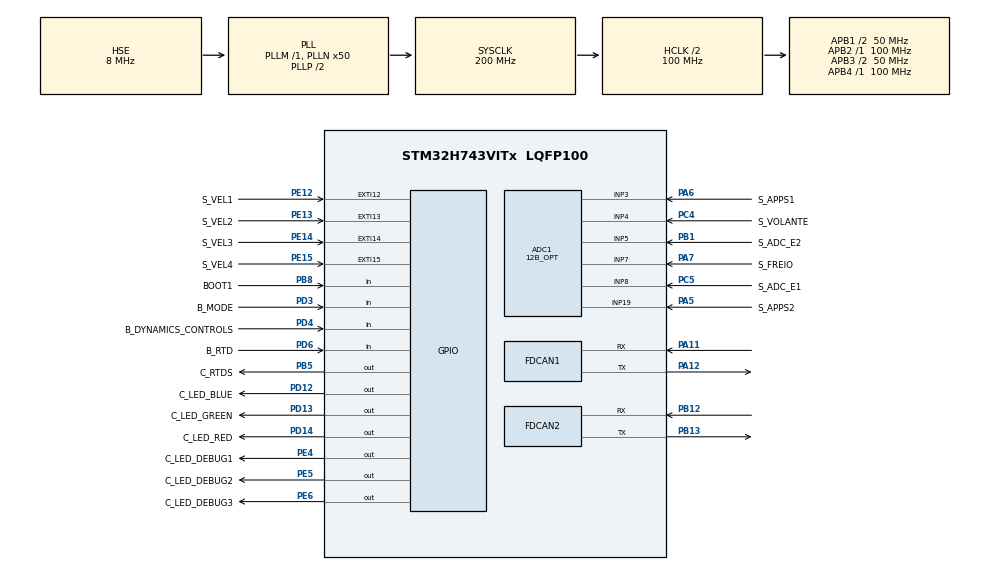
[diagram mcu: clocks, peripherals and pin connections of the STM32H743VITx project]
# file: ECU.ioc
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ADC1.Channel-0\#ChannelRegularConversion=ADC_CHANNEL_3
ADC1.Channel-1\#ChannelRegularConversion=ADC_CHANNEL_4
ADC1.Channel-2\#ChannelRegularConversion=ADC_CHANNEL_5
ADC1.Channel-3\#ChannelRegularConversion=ADC_CHANNEL_7
ADC1.Channel-4\#ChannelRegularConversion=ADC_CHANNEL_8
ADC1.Channel-5\#ChannelRegularConversion=ADC_CHANNEL_19
ADC1.ClockPrescaler=ADC_CLOCK_ASYNC_DIV2
ADC1.ContinuousConvMode=ENABLE
ADC1.ConversionDataManagement=ADC_CONVERSIONDATA_DMA_CIRCULAR
ADC1.EOCSelection=ADC_EOC_SEQ_CONV
ADC1.NbrOfConversion=6
ADC1.NbrOfConversionFlag=1
ADC1.OffsetNumber-0\#ChannelRegularConversion=ADC_OFFSET_NONE
ADC1.OffsetNumber-1\#ChannelRegularConversion=ADC_OFFSET_NONE
ADC1.OffsetNumber-2\#ChannelRegularConversion=ADC_OFFSET_NONE
ADC1.OffsetNumber-3\#ChannelRegularConversion=ADC_OFFSET_NONE
ADC1.OffsetNumber-4\#ChannelRegularConversion=ADC_OFFSET_NONE
ADC1.OffsetNumber-5\#ChannelRegularConversion=ADC_OFFSET_NONE
ADC1.Overrun=ADC_OVR_DATA_OVERWRITTEN
ADC1.Rank-0\#ChannelRegularConversion=1
ADC1.Rank-1\#ChannelRegularConversion=2
ADC1.Rank-2\#ChannelRegularConversion=3
ADC1.Rank-3\#ChannelRegularConversion=4
ADC1.Rank-4\#ChannelRegularConversion=5
ADC1.Rank-5\#ChannelRegularConversion=6
ADC1.Resolution=ADC_RESOLUTION_12B_OPT
ADC1.SamplingTime-0\#ChannelRegularConversion=ADC_SAMPLETIME_810CYCLES_5
ADC1.SamplingTime-1\#ChannelRegularConversion=ADC_SAMPLETIME_810CYCLES_5
ADC1.SamplingTime-2\#ChannelRegularConversion=ADC_SAMPLETIME_810CYCLES_5
ADC1.SamplingTime-3\#ChannelRegularConversion=ADC_SAMPLETIME_810CYCLES_5
ADC1.SamplingTime-4\#ChannelRegularConversion=ADC_SAMPLETIME_810CYCLES_5
ADC1.SamplingTime-5\#ChannelRegularConversion=ADC_SAMPLETIME_810CYCLES_5
ADC1.master=1
Dma.ADC1.0.Direction=DMA_PERIPH_TO_MEMORY
Dma.ADC1.0.EventEnable=DISABLE
Dma.ADC1.0.FIFOMode=DMA_FIFOMODE_DISABLE
Dma.ADC1.0.Instance=DMA1_Stream0
Dma.ADC1.0.MemDataAlignment=DMA_MDATAALIGN_HALFWORD
Dma.ADC1.0.MemInc=DMA_MINC_ENABLE
Dma.ADC1.0.Mode=DMA_CIRCULAR
Dma.ADC1.0.PeriphDataAlignment=DMA_PDATAALIGN_HALFWORD
Dma.ADC1.0.PeriphInc=DMA_PINC_DISABLE
Dma.ADC1.0.Polarity=HAL_DMAMUX_REQ_GEN_RISING
Dma.ADC1.0.Priority=DMA_PRIORITY_LOW
Dma.ADC1.0.RequestNumber=1
Dma.ADC1.0.SignalID=NONE
Dma.ADC1.0.SyncEnable=DISABLE
Dma.ADC1.0.SyncPolarity=HAL_DMAMUX_SYNC_NO_EVENT
Dma.ADC1.0.SyncRequestNumber=1
Dma.ADC1.0.SyncSignalID=NONE
Dma.Request0=ADC1
FDCAN1.CalculateBaudRateNominal=50000
FDCAN1.CalculateTimeBitNominal=20000
FDCAN1.CalculateTimeQuantumNominal=625.0
FDCAN1.DataPrescaler=5
FDCAN1.DataSyncJumpWidth=4
FDCAN1.DataTimeSeg1=27
FDCAN1.DataTimeSeg2=4
FDCAN1.NominalPrescaler=5
FDCAN1.NominalSyncJumpWidth=4
FDCAN1.NominalTimeSeg1=27
FDCAN1.NominalTimeSeg2=4
FDCAN1.RxBuffersNbr=32
FDCAN1.RxFifo0ElmtsNbr=32
FDCAN1.RxFifo1ElmtsNbr=32
FDCAN1.TxBuffersNbr=32
FDCAN1.TxEventsNbr=32
FDCAN1.TxFifoQueueElmtsNbr=32
FDCAN2.CalculateBaudRateNominal=500000
FDCAN2.CalculateTimeBitNominal=2000
FDCAN2.CalculateTimeQuantumNominal=125.0
FDCAN2.DataSyncJumpWidth=2
FDCAN2.DataTimeSeg1=13
FDCAN2.DataTimeSeg2=2
FDCAN2.MessageRAMOffset=1280
FDCAN2.NominalPrescaler=1
FDCAN2.NominalSyncJumpWidth=2
FDCAN2.NominalTimeSeg1=13
FDCAN2.RxBuffersNbr=32
FDCAN2.RxFifo0ElmtsNbr=32
FDCAN2.RxFifo1ElmtsNbr=32
FDCAN2.TxBuffersNbr=32
FDCAN2.TxEventsNbr=32
FDCAN2.TxFifoQueueElmtsNbr=32
FREERTOS.Events01=e_ECU_control_flags,Dynamic,NULL
FREERTOS.Mutexes01=m_state_parameter_mutex,Dynamic,NULL
FREERTOS.Queues01=q_encoder_int_message,16,encoder_int_message_t,0,Dynamic,NULL,NULL;q_torque_message,16,torque_message_t,0,Dynamic,NULL,NULL;q_ref_torque_message,16,ref_torque_t,0,Dynamic,NULL,NULL;q_datalog_message,128,datalog_message_t,0,Dynamic,NULL,NULL;q_debug_leds_message,16,debug_led_message_t,0,Dynamic,NULL,NULL;q_rgb_led_message,16,rgb_led_message_t,0,Dynamic,NULL,NULL;q_throttle_control,16,uint16_t,0,Dynamic,NULL,NULL;q_encoder_speeds_message,1,encoder_speeds_message_t,0,Dynamic,NULL,NULL;q_odometer_calc_save_message,1,odometer_message_t,0,Dynamic,NULL,NULL;q_ids_can_inverter,32,uint32_t,0,Dynamic,NULL,NULL
FREERTOS.Tasks01=t_main_task,24,1024,main_task,As weak,NULL,Dynamic,NULL,NULL;t_torque_parameters,8,1024,torque_parameters,As external,NULL,Dynamic,NULL,NULL;t_datalogger,8,1024,datalogger,As external,NULL,Dynamic,NULL,NULL;t_APPS_read,8,1024,APPS_read,As external,NULL,Dynamic,NULL,NULL;t_steering_read,8,1024,steering_read,As external,NULL,Dynamic,NULL,NULL;t_encoder_speed_calc,8,1024,encoder_speed_calc,As external,NULL,Dynamic,NULL,NULL;t_odometer_calc,8,1024,odometer_calc,As external,NULL,Dynamic,NULL,NULL;t_torque_message,8,1024,torque_message,As external,NULL,Dynamic,NULL,NULL;t_torque_manager,8,1024,torque_manager,As external,NULL,Dynamic,NULL,NULL;t_debug_leds,8,1024,debug_leds,As external,NULL,Dynamic,NULL,NULL;t_rgb_led,8,1024,rgb_led,As external,NULL,Dynamic,NULL,NULL;t_seleciona_modo,8,1024,seleciona_modo,As external,NULL,Dynamic,NULL,NULL;t_RTD,8,1024,RTD,As external,NULL,Dynamic,NULL,NULL;t_throttle_control,8,1024,throttle_control,As external,NULL,Dynamic,NULL,NULL;t_datalog_acquisition,8,1024,datalog_acquisition,As external,NULL,Dynamic,NULL,NULL;t_inverter_comm_error,8,1024,inverter_comm_error,As external,NULL,Dynamic,NULL,NULL;t_inverter_datalog,8,1024,inverter_datalog,As external,NULL,Dynamic,NULL,NULL;t_pilot_reset,8,1024,pilot_reset,As external,NULL,Dynamic,NULL,NULL;t_buttons_handler,8,1024,buttons_handler,As external,NULL,Dynamic,NULL,NULL;t_speed_datalog,8,1024,speed_datalog,As external,NULL,Dynamic,NULL,NULL;t_odometer_save,8,1024,odometer_save,As external,NULL,Dynamic,NULL,NULL;t_dynamic_controls_choice,8,1024,dynamic_controls_choice,As external,NULL,Dynamic,NULL,NULL
FREERTOS.Timers01=tim_SU_F_error,errors_with_timer_callback,osTimerOnce,As external,SU_F_ERROR_FLAG,Dynamic,NULL;tim_APPS_error,errors_with_timer_callback,osTimerOnce,As external,APPS_ERROR_FLAG,Dynamic,NULL;tim_inverter_BUS_OFF_error,inverter_BUS_OFF_error_callback,osTimerOnce,As external,NULL,Dynamic,NULL;tim_inverter_ready,inverter_ready_callback,osTimerOnce,As external,NULL,Dynamic,NULL;tim_inverter_can_transmit_error,errors_with_timer_callback,osTimerOnce,As external,INVERTER_CAN_TRANSMIT_ERROR_FLAG,Dynamic,NULL;tim_left_inv_error,left_inv_error_callback,osTimerPeriodic,As external,LEFT_INVERTER_COMM_ERROR_FLAG,Dynamic,NULL;tim_right_inv_error,right_inv_error_callback,osTimerPeriodic,As external,RIGHT_INVERTER_COMM_ERROR_FLAG,Dynamic,NULL
FREERTOS.configCHECK_FOR_STACK_OVERFLOW=2
FREERTOS.configENABLE_FPU=1
FREERTOS.configMAX_TASK_NAME_LEN=32
FREERTOS.configMINIMAL_STACK_SIZE=64
FREERTOS.configTOTAL_HEAP_SIZE=121260
FREERTOS.configUSE_MALLOC_FAILED_HOOK=1
FREERTOS.configUSE_STATS_FORMATTING_FUNCTIONS=1
IWDG1.Prescaler=IWDG_PRESCALER_8
Mcu.Family=STM32H7
Mcu.Name=STM32H743VITx
Mcu.Package=LQFP100
NVIC.DMA1_Stream0_IRQn=true\:5\:0\:false\:false\:true\:true\:false\:true\:true
NVIC.EXTI15_10_IRQn=true\:5\:0\:false\:false\:true\:true\:true\:true\:true
NVIC.FDCAN1_IT0_IRQn=true\:5\:0\:false\:false\:true\:true\:true\:true\:true
NVIC.FDCAN1_IT1_IRQn=true\:5\:0\:false\:false\:true\:true\:true\:true\:true
NVIC.FDCAN2_IT0_IRQn=true\:5\:0\:false\:false\:true\:true\:true\:true\:true
NVIC.FDCAN2_IT1_IRQn=true\:5\:0\:false\:false\:true\:true\:true\:true\:true
NVIC.PriorityGroup=NVIC_PRIORITYGROUP_4
NVIC.TIM1_TRG_COM_IRQn=true\:5\:0\:false\:false\:true\:true\:true\:true\:true
NVIC.TIM3_IRQn=true\:0\:0\:false\:false\:true\:false\:false\:true\:true
NVIC.TimeBase=TIM3_IRQn
NVIC.TimeBaseIP=TIM3
PA11.Mode=FDCAN_Activate
PA11.Signal=FDCAN1_RX
PA12.Mode=FDCAN_Activate
PA12.Signal=FDCAN1_TX
PA13\ (JTMS/SWDIO).Mode=Serial_Wire
PA13\ (JTMS/SWDIO).Signal=DEBUG_JTMS-SWDIO
PA14\ (JTCK/SWCLK).Mode=Serial_Wire
PA14\ (JTCK/SWCLK).Signal=DEBUG_JTCK-SWCLK
PA5.GPIO_Label=S_APPS2
PA5.Signal=ADCx_INP19
PA6.GPIO_Label=S_APPS1
PA6.Signal=ADCx_INP3
PA7.GPIO_Label=S_FREIO
PA7.Signal=ADCx_INP7
PB1.GPIO_Label=S_ADC_E2
PB1.Signal=ADCx_INP5
PB12.Mode=FDCAN_Activate
PB12.Signal=FDCAN2_RX
PB13.Mode=FDCAN_Activate
PB13.Signal=FDCAN2_TX
PB5.GPIO_Label=C_RTDS
PB5.PinState=GPIO_PIN_RESET
PB5.Signal=GPIO_Output
PB8.GPIO_Label=BOOT1
PB8.Signal=GPIO_Input
PC4.GPIO_Label=S_VOLANTE
PC4.Signal=ADCx_INP4
PC5.GPIO_Label=S_ADC_E1
PC5.Signal=ADCx_INP8
PD12.GPIO_Label=C_LED_BLUE
PD12.Signal=GPIO_Output
PD13.GPIO_Label=C_LED_GREEN
PD13.Signal=GPIO_Output
PD14.GPIO_Label=C_LED_RED
PD14.Signal=GPIO_Output
PD3.GPIO_Label=B_MODE
PD3.Signal=GPIO_Input
PD4.GPIO_Label=B_DYNAMICS_CONTROLS
PD4.Signal=GPIO_Input
PD6.GPIO_Label=B_RTD
PD6.Signal=GPIO_Input
PE12.GPIO_Label=S_VEL1
PE12.Signal=GPXTI12
PE13.GPIO_Label=S_VEL2
PE13.Signal=GPXTI13
PE14.GPIO_Label=S_VEL3
PE14.Signal=GPXTI14
PE15.GPIO_Label=S_VEL4
PE15.Signal=GPXTI15
PE4.GPIO_Label=C_LED_DEBUG1
PE4.PinState=GPIO_PIN_SET
PE4.Signal=GPIO_Output
PE5.GPIO_Label=C_LED_DEBUG2
PE5.PinState=GPIO_PIN_RESET
PE5.Signal=GPIO_Output
PE6.GPIO_Label=C_LED_DEBUG3
PE6.PinState=GPIO_PIN_SET
PE6.Signal=GPIO_Output
PH0-OSC_IN\ (PH0).Mode=HSE-External-Oscillator
PH0-OSC_IN\ (PH0).Signal=RCC_OSC_IN
PH1-OSC_OUT\ (PH1).Mode=HSE-External-Oscillator
PH1-OSC_OUT\ (PH1).Signal=RCC_OSC_OUT
ProjectManager.HeapSize=0x200
ProjectManager.StackSize=0x400
ProjectManager.TargetToolchain=STM32CubeIDE
RCC.ADCFreq_Value=37500000
RCC.APB1Freq_Value=50000000
RCC.APB2Freq_Value=100000000
RCC.APB3Freq_Value=50000000
RCC.APB4Freq_Value=100000000
RCC.CortexFreq_Value=200000000
RCC.D1PPRE=RCC_APB3_DIV2
RCC.D2PPRE1=RCC_APB1_DIV2
RCC.DIVM1=1
RCC.DIVM2=1
RCC.DIVN1=50
RCC.DIVN2=18
RCC.DIVP2=4
RCC.DIVQ1=4
RCC.FDCANCLockSelection=RCC_FDCANCLKSOURCE_HSE
RCC.HCLKFreq_Value=100000000
RCC.HPRE=RCC_HCLK_DIV2
RCC.HSE_VALUE=8000000
RCC.PLL2FRACN=6144
RCC.PLL3FRACN=0
RCC.PLLFRACN=0
RCC.PLLSourceVirtual=RCC_PLLSOURCE_HSE
RCC.SYSCLKFreq_VALUE=200000000
RCC.SYSCLKSource=RCC_SYSCLKSOURCE_PLLCLK
RCC.USBFreq_Value=100000000
SH.ADCx_INP19.0=ADC1_INP19,IN19-Single-Ended
SH.ADCx_INP3.0=ADC1_INP3,IN3-Single-Ended
SH.ADCx_INP4.0=ADC1_INP4,IN4-Single-Ended
SH.ADCx_INP5.0=ADC1_INP5,IN5-Single-Ended
SH.ADCx_INP7.0=ADC1_INP7,IN7-Single-Ended
SH.ADCx_INP8.0=ADC1_INP8,IN8-Single-Ended
TIM1.Period=4000
TIM1.Prescaler=1799
TIM2.Period=0xFFFFFFFF
TIM2.Prescaler=0
VP_FREERTOS_VS_CMSIS_V2.Mode=CMSIS_V2
VP_IWDG1_VS_IWDG.Mode=IWDG_Activate
VP_SYS_VS_tim3.Mode=TIM3
VP_TIM1_VS_ClockSourceINT.Mode=Internal
VP_TIM2_VS_ClockSourceINT.Mode=Internal
board=custom

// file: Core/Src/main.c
/* USER CODE BEGIN Header */
/**
  ******************************************************************************
  * @file           : main.c
  * @brief          : Main program body
  ******************************************************************************
  * @attention
  *
  * <h2><center>&copy; Copyright (c) 2020 STMicroelectronics.
  * All rights reserved.</center></h2>
  *
  * This software component is licensed by ST under BSD 3-Clause license,
  * the "License"; You may not use this file except in compliance with the
  * License. You may obtain a copy of the License at:
  *                        opensource.org/licenses/BSD-3-Clause
  *
  ******************************************************************************
  */
/* USER CODE END Header */
#include "main.h"
#include "cmsis_os.h"

/* USER CODE BEGIN Includes */
#include "CAN/inverter_can.h"
#include "CAN/general_can.h"
#include "util/initializers.h"
#include "sensors/APPS.h"
#include "sensors/encoder_speed.h"
#include "util/global_instances.h"
#include "util/main_task.h"
#include "leds/debug_leds_handler.h"
#include "leds/rgb_led_handler.h"
#include "util/CMSIS_extra/global_variables_handler.h"
#include "datalogging/speed.h"
#include "datalogging/odometer_save.h"
/* USER CODE END Includes */

ADC_HandleTypeDef hadc1;
DMA_HandleTypeDef hdma_adc1;

FDCAN_HandleTypeDef hfdcan1;
FDCAN_HandleTypeDef hfdcan2;

IWDG_HandleTypeDef hiwdg1;

TIM_HandleTypeDef htim1;
TIM_HandleTypeDef htim2;

/* Definitions for t_main_task */
osThreadId_t t_main_taskHandle;
const osThreadAttr_t t_main_task_attributes = {
  .name = "t_main_task",
  .stack_size = 1024 * 4,
  .priority = (osPriority_t) osPriorityNormal,
};
/* Definitions for t_torque_parameters */
osThreadId_t t_torque_parametersHandle;
const osThreadAttr_t t_torque_parameters_attributes = {
  .name = "t_torque_parameters",
  .stack_size = 1024 * 4,
  .priority = (osPriority_t) osPriorityLow,
};
/* Definitions for t_datalogger */
osThreadId_t t_dataloggerHandle;
const osThreadAttr_t t_datalogger_attributes = {
  .name = "t_datalogger",
  .stack_size = 1024 * 4,
  .priority = (osPriority_t) osPriorityLow,
};
/* Definitions for t_APPS_read */
osThreadId_t t_APPS_readHandle;
const osThreadAttr_t t_APPS_read_attributes = {
  .name = "t_APPS_read",
  .stack_size = 1024 * 4,
  .priority = (osPriority_t) osPriorityLow,
};
/* Definitions for t_steering_read */
osThreadId_t t_steering_readHandle;
const osThreadAttr_t t_steering_read_attributes = {
  .name = "t_steering_read",
  .stack_size = 1024 * 4,
  .priority = (osPriority_t) osPriorityLow,
};
/* Definitions for t_encoder_speed_calc */
osThreadId_t t_encoder_speed_calcHandle;
const osThreadAttr_t t_encoder_speed_calc_attributes = {
  .name = "t_encoder_speed_calc",
  .stack_size = 1024 * 4,
  .priority = (osPriority_t) osPriorityLow,
};
/* Definitions for t_odometer_calc */
osThreadId_t t_odometer_calcHandle;
const osThreadAttr_t t_odometer_calc_attributes = {
  .name = "t_odometer_calc",
  .stack_size = 1024 * 4,
  .priority = (osPriority_t) osPriorityLow,
};
/* Definitions for t_torque_message */
osThreadId_t t_torque_messageHandle;
const osThreadAttr_t t_torque_message_attributes = {
  .name = "t_torque_message",
  .stack_size = 1024 * 4,
  .priority = (osPriority_t) osPriorityLow,
};
/* Definitions for t_torque_manager */
osThreadId_t t_torque_managerHandle;
const osThreadAttr_t t_torque_manager_attributes = {
  .name = "t_torque_manager",
  .stack_size = 1024 * 4,
  .priority = (osPriority_t) osPriorityLow,
};
/* Definitions for t_debug_leds */
osThreadId_t t_debug_ledsHandle;
const osThreadAttr_t t_debug_leds_attributes = {
  .name = "t_debug_leds",
  .stack_size = 1024 * 4,
  .priority = (osPriority_t) osPriorityLow,
};
/* Definitions for t_rgb_led */
osThreadId_t t_rgb_ledHandle;
const osThreadAttr_t t_rgb_led_attributes = {
  .name = "t_rgb_led",
  .stack_size = 1024 * 4,
  .priority = (osPriority_t) osPriorityLow,
};
/* Definitions for t_select_mode */
osThreadId_t t_select_modeHandle;
const osThreadAttr_t t_select_mode_attributes = {
  .name = "t_select_mode",
  .stack_size = 1024 * 4,
  .priority = (osPriority_t) osPriorityLow,
};
/* Definitions for t_RTD */
osThreadId_t t_RTDHandle;
const osThreadAttr_t t_RTD_attributes = {
  .name = "t_RTD",
  .stack_size = 1024 * 4,
  .priority = (osPriority_t) osPriorityLow,
};
/* Definitions for t_throttle_control */
osThreadId_t t_throttle_controlHandle;
const osThreadAttr_t t_throttle_control_attributes = {
  .name = "t_throttle_control",
  .stack_size = 1024 * 4,
  .priority = (osPriority_t) osPriorityLow,
};
/* Definitions for t_datalog_acquisition */
osThreadId_t t_datalog_acquisitionHandle;
const osThreadAttr_t t_datalog_acquisition_attributes = {
  .name = "t_datalog_acquisition",
  .stack_size = 1024 * 4,
  .priority = (osPriority_t) osPriorityLow,
};
/* Definitions for t_inverter_comm_error */
osThreadId_t t_inverter_comm_errorHandle;
const osThreadAttr_t t_inverter_comm_error_attributes = {
  .name = "t_inverter_comm_error",
  .stack_size = 1024 * 4,
  .priority = (osPriority_t) osPriorityLow,
};
/* Definitions for t_inverter_datalog */
osThreadId_t t_inverter_datalogHandle;
const osThreadAttr_t t_inverter_datalog_attributes = {
  .name = "t_inverter_datalog",
  .stack_size = 1024 * 4,
  .priority = (osPriority_t) osPriorityLow,
};
/* Definitions for t_pilot_reset */
osThreadId_t t_pilot_resetHandle;
const osThreadAttr_t t_pilot_reset_attributes = {
  .name = "t_pilot_reset",
  .stack_size = 1024 * 4,
  .priority = (osPriority_t) osPriorityLow,
};
/* Definitions for t_buttons_handler */
osThreadId_t t_buttons_handlerHandle;
const osThreadAttr_t t_buttons_handler_attributes = {
  .name = "t_buttons_handler",
  .stack_size = 1024 * 4,
  .priority = (osPriority_t) osPriorityLow,
};
/* Definitions for t_speed_datalog */
osThreadId_t t_speed_datalogHandle;
const osThreadAttr_t t_speed_datalog_attributes = {
  .name = "t_speed_datalog",
  .stack_size = 1024 * 4,
  .priority = (osPriority_t) osPriorityLow,
};
/* Definitions for t_odometer_save */
osThreadId_t t_odometer_saveHandle;
const osThreadAttr_t t_odometer_save_attributes = {
  .name = "t_odometer_save",
  .stack_size = 1024 * 4,
  .priority = (osPriority_t) osPriorityLow,
};
/* Definitions for t_dynamic_controls_choice */
osThreadId_t t_dynamic_controls_choiceHandle;
const osThreadAttr_t t_dynamic_controls_choice_attributes = {
  .name = "t_dynamic_controls_choice",
  .stack_size = 1024 * 4,
  .priority = (osPriority_t) osPriorityLow,
};
/* Definitions for t_encoder_acceleration_calc */
osThreadId_t t_encoder_acceleration_calcHandle;
const osThreadAttr_t t_encoder_acceleration_calc_attributes = {
  .name = "t_encoder_acceleration_calc",
  .stack_size = 1024 * 4,
  .priority = (osPriority_t) osPriorityLow,
};
/* Definitions for q_encoder_int_message */
osMessageQueueId_t q_encoder_int_messageHandle;
const osMessageQueueAttr_t q_encoder_int_message_attributes = {
  .name = "q_encoder_int_message"
};
/* Definitions for q_torque_message */
osMessageQueueId_t q_torque_messageHandle;
const osMessageQueueAttr_t q_torque_message_attributes = {
  .name = "q_torque_message"
};
/* Definitions for q_ref_torque_message */
osMessageQueueId_t q_ref_torque_messageHandle;
const osMessageQueueAttr_t q_ref_torque_message_attributes = {
  .name = "q_ref_torque_message"
};
/* Definitions for q_datalog_message */
osMessageQueueId_t q_datalog_messageHandle;
const osMessageQueueAttr_t q_datalog_message_attributes = {
  .name = "q_datalog_message"
};
/* Definitions for q_debug_leds_message */
osMessageQueueId_t q_debug_leds_messageHandle;
const osMessageQueueAttr_t q_debug_leds_message_attributes = {
  .name = "q_debug_leds_message"
};
/* Definitions for q_rgb_led_message */
osMessageQueueId_t q_rgb_led_messageHandle;
const osMessageQueueAttr_t q_rgb_led_message_attributes = {
  .name = "q_rgb_led_message"
};
/* Definitions for q_throttle_control */
osMessageQueueId_t q_throttle_controlHandle;
const osMessageQueueAttr_t q_throttle_control_attributes = {
  .name = "q_throttle_control"
};
/* Definitions for q_encoder_speeds_message */
osMessageQueueId_t q_encoder_speeds_messageHandle;
const osMessageQueueAttr_t q_encoder_speeds_message_attributes = {
  .name = "q_encoder_speeds_message"
};
/* Definitions for q_odometer_calc_save_message */
osMessageQueueId_t q_odometer_calc_save_messageHandle;
const osMessageQueueAttr_t q_odometer_calc_save_message_attributes = {
  .name = "q_odometer_calc_save_message"
};
/* Definitions for q_ids_can_inverter */
osMessageQueueId_t q_ids_can_inverterHandle;
const osMessageQueueAttr_t q_ids_can_inverter_attributes = {
  .name = "q_ids_can_inverter"
};
/* Definitions for tim_SU_F_error */
osTimerId_t tim_SU_F_errorHandle;
const osTimerAttr_t tim_SU_F_error_attributes = {
  .name = "tim_SU_F_error"
};
/* Definitions for tim_APPS_error */
osTimerId_t tim_APPS_errorHandle;
const osTimerAttr_t tim_APPS_error_attributes = {
  .name = "tim_APPS_error"
};
/* Definitions for tim_inverter_BUS_OFF_error */
osTimerId_t tim_inverter_BUS_OFF_errorHandle;
const osTimerAttr_t tim_inverter_BUS_OFF_error_attributes = {
  .name = "tim_inverter_BUS_OFF_error"
};
/* Definitions for tim_inverter_ready */
osTimerId_t tim_inverter_readyHandle;
const osTimerAttr_t tim_inverter_ready_attributes = {
  .name = "tim_inverter_ready"
};
/* Definitions for tim_inverter_can_transmit_error */
osTimerId_t tim_inverter_can_transmit_errorHandle;
const osTimerAttr_t tim_inverter_can_transmit_error_attributes = {
  .name = "tim_inverter_can_transmit_error"
};
/* Definitions for tim_left_inv_error */
osTimerId_t tim_left_inv_errorHandle;
const osTimerAttr_t tim_left_inv_error_attributes = {
  .name = "tim_left_inv_error"
};
/* Definitions for tim_right_inv_error */
osTimerId_t tim_right_inv_errorHandle;
const osTimerAttr_t tim_right_inv_error_attributes = {
  .name = "tim_right_inv_error"
};
/* Definitions for m_state_parameter_mutex */
osMutexId_t m_state_parameter_mutexHandle;
const osMutexAttr_t m_state_parameter_mutex_attributes = {
  .name = "m_state_parameter_mutex"
};
/* Definitions for e_ECU_control_flags */
osEventFlagsId_t e_ECU_control_flagsHandle;
const osEventFlagsAttr_t e_ECU_control_flags_attributes = {
  .name = "e_ECU_control_flags"
};

void SystemClock_Config(void);
static void MX_GPIO_Init(void);
static void MX_DMA_Init(void);
static void MX_ADC1_Init(void);
static void MX_FDCAN1_Init(void);
static void MX_FDCAN2_Init(void);
static void MX_TIM1_Init(void);
static void MX_TIM2_Init(void);
static void MX_IWDG1_Init(void);
void main_task(void *argument);
extern void torque_parameters(void *argument);
extern void datalogger(void *argument);
extern void APPS_read(void *argument);
extern void steering_read(void *argument);
extern void encoder_speed_calc(void *argument);
extern void odometer_calc(void *argument);
extern void torque_message(void *argument);
extern void torque_manager(void *argument);
extern void debug_leds(void *argument);
extern void rgb_led(void *argument);
extern void select_mode(void *argument);
extern void RTD(void *argument);
extern void throttle_control(void *argument);
extern void datalog_acquisition(void *argument);
extern void inverter_comm_error(void *argument);
extern void inverter_datalog(void *argument);
extern void pilot_reset(void *argument);
extern void buttons_handler(void *argument);
extern void speed_datalog(void *argument);
extern void odometer_save(void *argument);
extern void dynamic_controls_choice(void *argument);
extern void encoder_acceleration_calc(void *argument);
extern void errors_with_timer_callback(void *argument);
extern void inverter_BUS_OFF_error_callback(void *argument);
extern void inverter_ready_callback(void *argument);
extern void left_inv_error_callback(void *argument);
extern void right_inv_error_callback(void *argument);

int main(void)
{

  /* MCU Configuration--------------------------------------------------------*/

  /* Reset of all peripherals, Initializes the Flash interface and the Systick. */
  HAL_Init();

  /* USER CODE BEGIN Init */
//  init_NVIC_priorities();
  /* USER CODE END Init */

  /* Configure the system clock */
  SystemClock_Config();

  /* Initialize all configured peripherals */
  MX_GPIO_Init();
  MX_DMA_Init();
  MX_ADC1_Init();
  MX_FDCAN1_Init();
  MX_FDCAN2_Init();
  MX_TIM1_Init();
  MX_TIM2_Init();
  MX_IWDG1_Init();
  /* USER CODE BEGIN 2 */
  init_ECU();
  /* USER CODE END 2 */

  /* Init scheduler */
  osKernelInitialize();
  /* Create the mutex(es) */
  /* creation of m_state_parameter_mutex */
  m_state_parameter_mutexHandle = osMutexNew(&m_state_parameter_mutex_attributes);

  /* Create the timer(s) */
  /* creation of tim_SU_F_error */
  tim_SU_F_errorHandle = osTimerNew(errors_with_timer_callback, osTimerOnce, (void*) SU_F_ERROR_FLAG, &tim_SU_F_error_attributes);

  /* creation of tim_APPS_error */
  tim_APPS_errorHandle = osTimerNew(errors_with_timer_callback, osTimerOnce, (void*) APPS_ERROR_FLAG, &tim_APPS_error_attributes);

  /* creation of tim_inverter_BUS_OFF_error */
  tim_inverter_BUS_OFF_errorHandle = osTimerNew(inverter_BUS_OFF_error_callback, osTimerOnce, NULL, &tim_inverter_BUS_OFF_error_attributes);

  /* creation of tim_inverter_ready */
  tim_inverter_readyHandle = osTimerNew(inverter_ready_callback, osTimerOnce, NULL, &tim_inverter_ready_attributes);

  /* creation of tim_inverter_can_transmit_error */
  tim_inverter_can_transmit_errorHandle = osTimerNew(errors_with_timer_callback, osTimerOnce, (void*) INVERTER_CAN_TRANSMIT_ERROR_FLAG, &tim_inverter_can_transmit_error_attributes);

  /* creation of tim_left_inv_error */
  tim_left_inv_errorHandle = osTimerNew(left_inv_error_callback, osTimerPeriodic, (void*) LEFT_INVERTER_COMM_ERROR_FLAG, &tim_left_inv_error_attributes);

  /* creation of tim_right_inv_error */
  tim_right_inv_errorHandle = osTimerNew(right_inv_error_callback, osTimerPeriodic, (void*) RIGHT_INVERTER_COMM_ERROR_FLAG, &tim_right_inv_error_attributes);

  /* Create the queue(s) */
  /* creation of q_encoder_int_message */
  q_encoder_int_messageHandle = osMessageQueueNew (16, sizeof(encoder_int_message_t), &q_encoder_int_message_attributes);

  /* creation of q_torque_message */
  q_torque_messageHandle = osMessageQueueNew (16, sizeof(torque_message_t), &q_torque_message_attributes);

  /* creation of q_ref_torque_message */
  q_ref_torque_messageHandle = osMessageQueueNew (16, sizeof(ref_torque_t), &q_ref_torque_message_attributes);

  /* creation of q_datalog_message */
  q_datalog_messageHandle = osMessageQueueNew (128, sizeof(datalog_message_t), &q_datalog_message_attributes);

  /* creation of q_debug_leds_message */
  q_debug_leds_messageHandle = osMessageQueueNew (16, sizeof(debug_led_message_t), &q_debug_leds_message_attributes);

  /* creation of q_rgb_led_message */
  q_rgb_led_messageHandle = osMessageQueueNew (16, sizeof(rgb_led_message_t), &q_rgb_led_message_attributes);

  /* creation of q_throttle_control */
  q_throttle_controlHandle = osMessageQueueNew (16, sizeof(uint16_t), &q_throttle_control_attributes);

  /* creation of q_encoder_speeds_message */
  q_encoder_speeds_messageHandle = osMessageQueueNew (1, sizeof(encoder_speeds_message_t), &q_encoder_speeds_message_attributes);

  /* creation of q_odometer_calc_save_message */
  q_odometer_calc_save_messageHandle = osMessageQueueNew (1, sizeof(odometer_message_t), &q_odometer_calc_save_message_attributes);

  /* creation of q_ids_can_inverter */
  q_ids_can_inverterHandle = osMessageQueueNew (32, sizeof(uint32_t), &q_ids_can_inverter_attributes);

  /* Create the thread(s) */
  /* creation of t_main_task */
  t_main_taskHandle = osThreadNew(main_task, NULL, &t_main_task_attributes);

  /* creation of t_torque_parameters */
  t_torque_parametersHandle = osThreadNew(torque_parameters, NULL, &t_torque_parameters_attributes);

  /* creation of t_datalogger */
  t_dataloggerHandle = osThreadNew(datalogger, NULL, &t_datalogger_attributes);

  /* creation of t_APPS_read */
  t_APPS_readHandle = osThreadNew(APPS_read, NULL, &t_APPS_read_attributes);

  /* creation of t_steering_read */
  t_steering_readHandle = osThreadNew(steering_read, NULL, &t_steering_read_attributes);

  /* creation of t_encoder_speed_calc */
  t_encoder_speed_calcHandle = osThreadNew(encoder_speed_calc, NULL, &t_encoder_speed_calc_attributes);

  /* creation of t_odometer_calc */
  t_odometer_calcHandle = osThreadNew(odometer_calc, NULL, &t_odometer_calc_attributes);

  /* creation of t_torque_message */
  t_torque_messageHandle = osThreadNew(torque_message, NULL, &t_torque_message_attributes);

  /* creation of t_torque_manager */
  t_torque_managerHandle = osThreadNew(torque_manager, NULL, &t_torque_manager_attributes);

  /* creation of t_debug_leds */
  t_debug_ledsHandle = osThreadNew(debug_leds, NULL, &t_debug_leds_attributes);

  /* creation of t_rgb_led */
  t_rgb_ledHandle = osThreadNew(rgb_led, NULL, &t_rgb_led_attributes);

  /* creation of t_select_mode */
  t_select_modeHandle = osThreadNew(select_mode, NULL, &t_select_mode_attributes);

  /* creation of t_RTD */
  t_RTDHandle = osThreadNew(RTD, NULL, &t_RTD_attributes);

  /* creation of t_throttle_control */
  t_throttle_controlHandle = osThreadNew(throttle_control, NULL, &t_throttle_control_attributes);

  /* creation of t_datalog_acquisition */
  t_datalog_acquisitionHandle = osThreadNew(datalog_acquisition, NULL, &t_datalog_acquisition_attributes);

  /* creation of t_inverter_comm_error */
  t_inverter_comm_errorHandle = osThreadNew(inverter_comm_error, NULL, &t_inverter_comm_error_attributes);

  /* creation of t_inverter_datalog */
  t_inverter_datalogHandle = osThreadNew(inverter_datalog, NULL, &t_inverter_datalog_attributes);

  /* creation of t_pilot_reset */
  t_pilot_resetHandle = osThreadNew(pilot_reset, NULL, &t_pilot_reset_attributes);

  /* creation of t_buttons_handler */
  t_buttons_handlerHandle = osThreadNew(buttons_handler, NULL, &t_buttons_handler_attributes);

  /* creation of t_speed_datalog */
  t_speed_datalogHandle = osThreadNew(speed_datalog, NULL, &t_speed_datalog_attributes);

  /* creation of t_odometer_save */
  t_odometer_saveHandle = osThreadNew(odometer_save, NULL, &t_odometer_save_attributes);

  /* creation of t_dynamic_controls_choice */
  t_dynamic_controls_choiceHandle = osThreadNew(dynamic_controls_choice, NULL, &t_dynamic_controls_choice_attributes);

  /* creation of t_encoder_acceleration_calc */
  t_encoder_acceleration_calcHandle = osThreadNew(encoder_acceleration_calc, NULL, &t_encoder_acceleration_calc_attributes);

  /* creation of e_ECU_control_flags */
  e_ECU_control_flagsHandle = osEventFlagsNew(&e_ECU_control_flags_attributes);

  /* Start scheduler */
  osKernelStart();

  /* We should never get here as control is now taken by the scheduler */

  /* Infinite loop */
  while (1)
  {

  }
}

void SystemClock_Config(void)
{
  RCC_OscInitTypeDef RCC_OscInitStruct = {0};
  RCC_ClkInitTypeDef RCC_ClkInitStruct = {0};

  /** Supply configuration update enable
  */
  HAL_PWREx_ConfigSupply(PWR_LDO_SUPPLY);

  /** Configure the main internal regulator output voltage
  */
  __HAL_PWR_VOLTAGESCALING_CONFIG(PWR_REGULATOR_VOLTAGE_SCALE3);

  while(!__HAL_PWR_GET_FLAG(PWR_FLAG_VOSRDY)) {}

  /** Initializes the RCC Oscillators according to the specified parameters
  * in the RCC_OscInitTypeDef structure.
  */
  RCC_OscInitStruct.OscillatorType = RCC_OSCILLATORTYPE_LSI|RCC_OSCILLATORTYPE_HSE;
  RCC_OscInitStruct.HSEState = RCC_HSE_ON;
  RCC_OscInitStruct.LSIState = RCC_LSI_ON;
  RCC_OscInitStruct.PLL.PLLState = RCC_PLL_ON;
  RCC_OscInitStruct.PLL.PLLSource = RCC_PLLSOURCE_HSE;
  RCC_OscInitStruct.PLL.PLLM = 1;
  RCC_OscInitStruct.PLL.PLLN = 50;
  RCC_OscInitStruct.PLL.PLLP = 2;
  RCC_OscInitStruct.PLL.PLLQ = 4;
  RCC_OscInitStruct.PLL.PLLR = 2;
  RCC_OscInitStruct.PLL.PLLRGE = RCC_PLL1VCIRANGE_3;
  RCC_OscInitStruct.PLL.PLLVCOSEL = RCC_PLL1VCOWIDE;
  RCC_OscInitStruct.PLL.PLLFRACN = 0;
  if (HAL_RCC_OscConfig(&RCC_OscInitStruct) != HAL_OK)
  {
    Error_Handler();
  }

  /** Initializes the CPU, AHB and APB buses clocks
  */
  RCC_ClkInitStruct.ClockType = RCC_CLOCKTYPE_HCLK|RCC_CLOCKTYPE_SYSCLK
                              |RCC_CLOCKTYPE_PCLK1|RCC_CLOCKTYPE_PCLK2
                              |RCC_CLOCKTYPE_D3PCLK1|RCC_CLOCKTYPE_D1PCLK1;
  RCC_ClkInitStruct.SYSCLKSource = RCC_SYSCLKSOURCE_PLLCLK;
  RCC_ClkInitStruct.SYSCLKDivider = RCC_SYSCLK_DIV1;
  RCC_ClkInitStruct.AHBCLKDivider = RCC_HCLK_DIV2;
  RCC_ClkInitStruct.APB3CLKDivider = RCC_APB3_DIV2;
  RCC_ClkInitStruct.APB1CLKDivider = RCC_APB1_DIV2;
  RCC_ClkInitStruct.APB2CLKDivider = RCC_APB2_DIV1;
  RCC_ClkInitStruct.APB4CLKDivider = RCC_APB4_DIV1;

  if (HAL_RCC_ClockConfig(&RCC_ClkInitStruct, FLASH_LATENCY_2) != HAL_OK)
  {
    Error_Handler();
  }
}

static void MX_ADC1_Init(void)
{

  ADC_MultiModeTypeDef multimode = {0};
  ADC_ChannelConfTypeDef sConfig = {0};

  /** Common config
  */
  hadc1.Instance = ADC1;
  hadc1.Init.ClockPrescaler = ADC_CLOCK_ASYNC_DIV2;
  hadc1.Init.Resolution = ADC_RESOLUTION_12B_OPT;
  hadc1.Init.ScanConvMode = ADC_SCAN_ENABLE;
  hadc1.Init.EOCSelection = ADC_EOC_SEQ_CONV;
  hadc1.Init.LowPowerAutoWait = DISABLE;
  hadc1.Init.ContinuousConvMode = ENABLE;
  hadc1.Init.NbrOfConversion = 6;
  hadc1.Init.DiscontinuousConvMode = DISABLE;
  hadc1.Init.ExternalTrigConv = ADC_SOFTWARE_START;
  hadc1.Init.ExternalTrigConvEdge = ADC_EXTERNALTRIGCONVEDGE_NONE;
  hadc1.Init.ConversionDataManagement = ADC_CONVERSIONDATA_DMA_CIRCULAR;
  hadc1.Init.Overrun = ADC_OVR_DATA_OVERWRITTEN;
  hadc1.Init.LeftBitShift = ADC_LEFTBITSHIFT_NONE;
  hadc1.Init.OversamplingMode = DISABLE;
  hadc1.Init.Oversampling.Ratio = 1;
  if (HAL_ADC_Init(&hadc1) != HAL_OK)
  {
    Error_Handler();
  }

  /** Configure the ADC multi-mode
  */
  multimode.Mode = ADC_MODE_INDEPENDENT;
  if (HAL_ADCEx_MultiModeConfigChannel(&hadc1, &multimode) != HAL_OK)
  {
    Error_Handler();
  }

  /** Configure Regular Channel
  */
  sConfig.Channel = ADC_CHANNEL_3;
  sConfig.Rank = ADC_REGULAR_RANK_1;
  sConfig.SamplingTime = ADC_SAMPLETIME_810CYCLES_5;
  sConfig.SingleDiff = ADC_SINGLE_ENDED;
  sConfig.OffsetNumber = ADC_OFFSET_NONE;
  sConfig.Offset = 0;
  if (HAL_ADC_ConfigChannel(&hadc1, &sConfig) != HAL_OK)
  {
    Error_Handler();
  }

  /** Configure Regular Channel
  */
  sConfig.Channel = ADC_CHANNEL_4;
  sConfig.Rank = ADC_REGULAR_RANK_2;
  if (HAL_ADC_ConfigChannel(&hadc1, &sConfig) != HAL_OK)
  {
    Error_Handler();
  }

  /** Configure Regular Channel
  */
  sConfig.Channel = ADC_CHANNEL_5;
  sConfig.Rank = ADC_REGULAR_RANK_3;
  if (HAL_ADC_ConfigChannel(&hadc1, &sConfig) != HAL_OK)
  {
    Error_Handler();
  }

  /** Configure Regular Channel
  */
  sConfig.Channel = ADC_CHANNEL_7;
  sConfig.Rank = ADC_REGULAR_RANK_4;
  if (HAL_ADC_ConfigChannel(&hadc1, &sConfig) != HAL_OK)
  {
    Error_Handler();
  }

  /** Configure Regular Channel
  */
  sConfig.Channel = ADC_CHANNEL_8;
  sConfig.Rank = ADC_REGULAR_RANK_5;
  if (HAL_ADC_ConfigChannel(&hadc1, &sConfig) != HAL_OK)
  {
    Error_Handler();
  }

  /** Configure Regular Channel
  */
  sConfig.Channel = ADC_CHANNEL_19;
  sConfig.Rank = ADC_REGULAR_RANK_6;
  if (HAL_ADC_ConfigChannel(&hadc1, &sConfig) != HAL_OK)
  {
    Error_Handler();
  }

}

static void MX_FDCAN1_Init(void)
{

  hfdcan1.Instance = FDCAN1;
  hfdcan1.Init.FrameFormat = FDCAN_FRAME_CLASSIC;
  hfdcan1.Init.Mode = FDCAN_MODE_NORMAL;
  hfdcan1.Init.AutoRetransmission = DISABLE;
  hfdcan1.Init.TransmitPause = DISABLE;
  hfdcan1.Init.ProtocolException = DISABLE;
  hfdcan1.Init.NominalPrescaler = 5;
  hfdcan1.Init.NominalSyncJumpWidth = 4;
  hfdcan1.Init.NominalTimeSeg1 = 27;
  hfdcan1.Init.NominalTimeSeg2 = 4;
  hfdcan1.Init.DataPrescaler = 5;
  hfdcan1.Init.DataSyncJumpWidth = 4;
  hfdcan1.Init.DataTimeSeg1 = 27;
  hfdcan1.Init.DataTimeSeg2 = 4;
  hfdcan1.Init.MessageRAMOffset = 0;
  hfdcan1.Init.StdFiltersNbr = 0;
  hfdcan1.Init.ExtFiltersNbr = 0;
  hfdcan1.Init.RxFifo0ElmtsNbr = 32;
  hfdcan1.Init.RxFifo0ElmtSize = FDCAN_DATA_BYTES_8;
  hfdcan1.Init.RxFifo1ElmtsNbr = 32;
  hfdcan1.Init.RxFifo1ElmtSize = FDCAN_DATA_BYTES_8;
  hfdcan1.Init.RxBuffersNbr = 32;
  hfdcan1.Init.RxBufferSize = FDCAN_DATA_BYTES_8;
  hfdcan1.Init.TxEventsNbr = 32;
  hfdcan1.Init.TxBuffersNbr = 32;
  hfdcan1.Init.TxFifoQueueElmtsNbr = 32;
  hfdcan1.Init.TxFifoQueueMode = FDCAN_TX_FIFO_OPERATION;
  hfdcan1.Init.TxElmtSize = FDCAN_DATA_BYTES_8;
  if (HAL_FDCAN_Init(&hfdcan1) != HAL_OK)
  {
    Error_Handler();
  }

}

static void MX_FDCAN2_Init(void)
{

  hfdcan2.Instance = FDCAN2;
  hfdcan2.Init.FrameFormat = FDCAN_FRAME_CLASSIC;
  hfdcan2.Init.Mode = FDCAN_MODE_NORMAL;
  hfdcan2.Init.AutoRetransmission = DISABLE;
  hfdcan2.Init.TransmitPause = DISABLE;
  hfdcan2.Init.ProtocolException = DISABLE;
  hfdcan2.Init.NominalPrescaler = 1;
  hfdcan2.Init.NominalSyncJumpWidth = 2;
  hfdcan2.Init.NominalTimeSeg1 = 13;
  hfdcan2.Init.NominalTimeSeg2 = 2;
  hfdcan2.Init.DataPrescaler = 1;
  hfdcan2.Init.DataSyncJumpWidth = 2;
  hfdcan2.Init.DataTimeSeg1 = 13;
  hfdcan2.Init.DataTimeSeg2 = 2;
  hfdcan2.Init.MessageRAMOffset = 1280;
  hfdcan2.Init.StdFiltersNbr = 0;
  hfdcan2.Init.ExtFiltersNbr = 0;
  hfdcan2.Init.RxFifo0ElmtsNbr = 32;
  hfdcan2.Init.RxFifo0ElmtSize = FDCAN_DATA_BYTES_8;
  hfdcan2.Init.RxFifo1ElmtsNbr = 32;
  hfdcan2.Init.RxFifo1ElmtSize = FDCAN_DATA_BYTES_8;
  hfdcan2.Init.RxBuffersNbr = 32;
  hfdcan2.Init.RxBufferSize = FDCAN_DATA_BYTES_8;
  hfdcan2.Init.TxEventsNbr = 32;
  hfdcan2.Init.TxBuffersNbr = 32;
  hfdcan2.Init.TxFifoQueueElmtsNbr = 32;
  hfdcan2.Init.TxFifoQueueMode = FDCAN_TX_FIFO_OPERATION;
  hfdcan2.Init.TxElmtSize = FDCAN_DATA_BYTES_8;
  if (HAL_FDCAN_Init(&hfdcan2) != HAL_OK)
  {
    Error_Handler();
  }

}

static void MX_IWDG1_Init(void)
{

  hiwdg1.Instance = IWDG1;
  hiwdg1.Init.Prescaler = IWDG_PRESCALER_8;
  hiwdg1.Init.Window = 4095;
  hiwdg1.Init.Reload = 4095;
  if (HAL_IWDG_Init(&hiwdg1) != HAL_OK)
  {
    Error_Handler();
  }
  /* USER CODE BEGIN IWDG1_Init 2 */
  __HAL_DBGMCU_FREEZE_IWDG1() ;
  /* USER CODE END IWDG1_Init 2 */

}

static void MX_TIM1_Init(void)
{

  TIM_ClockConfigTypeDef sClockSourceConfig = {0};
  TIM_MasterConfigTypeDef sMasterConfig = {0};

  htim1.Instance = TIM1;
  htim1.Init.Prescaler = 1799;
  htim1.Init.CounterMode = TIM_COUNTERMODE_UP;
  htim1.Init.Period = 4000;
  htim1.Init.ClockDivision = TIM_CLOCKDIVISION_DIV1;
  htim1.Init.RepetitionCounter = 0;
  htim1.Init.AutoReloadPreload = TIM_AUTORELOAD_PRELOAD_DISABLE;
  if (HAL_TIM_Base_Init(&htim1) != HAL_OK)
  {
    Error_Handler();
  }
  sClockSourceConfig.ClockSource = TIM_CLOCKSOURCE_INTERNAL;
  if (HAL_TIM_ConfigClockSource(&htim1, &sClockSourceConfig) != HAL_OK)
  {
    Error_Handler();
  }
  sMasterConfig.MasterOutputTrigger = TIM_TRGO_RESET;
  sMasterConfig.MasterOutputTrigger2 = TIM_TRGO2_RESET;
  sMasterConfig.MasterSlaveMode = TIM_MASTERSLAVEMODE_DISABLE;
  if (HAL_TIMEx_MasterConfigSynchronization(&htim1, &sMasterConfig) != HAL_OK)
  {
    Error_Handler();
  }

}

static void MX_TIM2_Init(void)
{

  TIM_ClockConfigTypeDef sClockSourceConfig = {0};
  TIM_MasterConfigTypeDef sMasterConfig = {0};

  htim2.Instance = TIM2;
  htim2.Init.Prescaler = 0;
  htim2.Init.CounterMode = TIM_COUNTERMODE_UP;
  htim2.Init.Period = 0xFFFFFFFF;
  htim2.Init.ClockDivision = TIM_CLOCKDIVISION_DIV1;
  htim2.Init.AutoReloadPreload = TIM_AUTORELOAD_PRELOAD_DISABLE;
  if (HAL_TIM_Base_Init(&htim2) != HAL_OK)
  {
    Error_Handler();
  }
  sClockSourceConfig.ClockSource = TIM_CLOCKSOURCE_INTERNAL;
  if (HAL_TIM_ConfigClockSource(&htim2, &sClockSourceConfig) != HAL_OK)
  {
    Error_Handler();
  }
  sMasterConfig.MasterOutputTrigger = TIM_TRGO_RESET;
  sMasterConfig.MasterSlaveMode = TIM_MASTERSLAVEMODE_DISABLE;
  if (HAL_TIMEx_MasterConfigSynchronization(&htim2, &sMasterConfig) != HAL_OK)
  {
    Error_Handler();
  }

}

static void MX_DMA_Init(void)
{

  /* DMA controller clock enable */
  __HAL_RCC_DMA1_CLK_ENABLE();

  /* DMA interrupt init */
  /* DMA1_Stream0_IRQn interrupt configuration */
  HAL_NVIC_SetPriority(DMA1_Stream0_IRQn, 5, 0);
  HAL_NVIC_EnableIRQ(DMA1_Stream0_IRQn);

}

static void MX_GPIO_Init(void)
{
  GPIO_InitTypeDef GPIO_InitStruct = {0};

  /* GPIO Ports Clock Enable */
  __HAL_RCC_GPIOE_CLK_ENABLE();
  __HAL_RCC_GPIOH_CLK_ENABLE();
  __HAL_RCC_GPIOA_CLK_ENABLE();
  __HAL_RCC_GPIOC_CLK_ENABLE();
  __HAL_RCC_GPIOB_CLK_ENABLE();
  __HAL_RCC_GPIOD_CLK_ENABLE();

  /*Configure GPIO pin Output Level */
  HAL_GPIO_WritePin(GPIOE, C_LED_DEBUG1_Pin|C_LED_DEBUG3_Pin, GPIO_PIN_SET);

  /*Configure GPIO pin Output Level */
  HAL_GPIO_WritePin(C_LED_DEBUG2_GPIO_Port, C_LED_DEBUG2_Pin, GPIO_PIN_RESET);

  /*Configure GPIO pin Output Level */
  HAL_GPIO_WritePin(GPIOD, C_LED_BLUE_Pin|C_LED_GREEN_Pin|C_LED_RED_Pin, GPIO_PIN_RESET);

  /*Configure GPIO pin Output Level */
  HAL_GPIO_WritePin(C_RTDS_GPIO_Port, C_RTDS_Pin, GPIO_PIN_RESET);

  /*Configure GPIO pins : C_LED_DEBUG1_Pin C_LED_DEBUG2_Pin C_LED_DEBUG3_Pin */
  GPIO_InitStruct.Pin = C_LED_DEBUG1_Pin|C_LED_DEBUG2_Pin|C_LED_DEBUG3_Pin;
  GPIO_InitStruct.Mode = GPIO_MODE_OUTPUT_PP;
  GPIO_InitStruct.Pull = GPIO_NOPULL;
  GPIO_InitStruct.Speed = GPIO_SPEED_FREQ_LOW;
  HAL_GPIO_Init(GPIOE, &GPIO_InitStruct);

  /*Configure GPIO pins : S_VEL1_Pin S_VEL2_Pin S_VEL3_Pin S_VEL4_Pin */
  GPIO_InitStruct.Pin = S_VEL1_Pin|S_VEL2_Pin|S_VEL3_Pin|S_VEL4_Pin;
  GPIO_InitStruct.Mode = GPIO_MODE_IT_RISING;
  GPIO_InitStruct.Pull = GPIO_NOPULL;
  HAL_GPIO_Init(GPIOE, &GPIO_InitStruct);

  /*Configure GPIO pins : C_LED_BLUE_Pin C_LED_GREEN_Pin C_LED_RED_Pin */
  GPIO_InitStruct.Pin = C_LED_BLUE_Pin|C_LED_GREEN_Pin|C_LED_RED_Pin;
  GPIO_InitStruct.Mode = GPIO_MODE_OUTPUT_PP;
  GPIO_InitStruct.Pull = GPIO_NOPULL;
  GPIO_InitStruct.Speed = GPIO_SPEED_FREQ_LOW;
  HAL_GPIO_Init(GPIOD, &GPIO_InitStruct);

  /*Configure GPIO pins : B_MODE_Pin B_DYNAMICS_CONTROLS_Pin B_RTD_Pin */
  GPIO_InitStruct.Pin = B_MODE_Pin|B_DYNAMICS_CONTROLS_Pin|B_RTD_Pin;
  GPIO_InitStruct.Mode = GPIO_MODE_INPUT;
  GPIO_InitStruct.Pull = GPIO_NOPULL;
  HAL_GPIO_Init(GPIOD, &GPIO_InitStruct);

  /*Configure GPIO pin : C_RTDS_Pin */
  GPIO_InitStruct.Pin = C_RTDS_Pin;
  GPIO_InitStruct.Mode = GPIO_MODE_OUTPUT_PP;
  GPIO_InitStruct.Pull = GPIO_NOPULL;
  GPIO_InitStruct.Speed = GPIO_SPEED_FREQ_LOW;
  HAL_GPIO_Init(C_RTDS_GPIO_Port, &GPIO_InitStruct);

  /*Configure GPIO pin : BOOT1_Pin */
  GPIO_InitStruct.Pin = BOOT1_Pin;
  GPIO_InitStruct.Mode = GPIO_MODE_INPUT;
  GPIO_InitStruct.Pull = GPIO_NOPULL;
  HAL_GPIO_Init(BOOT1_GPIO_Port, &GPIO_InitStruct);

  /* EXTI interrupt init*/
  HAL_NVIC_SetPriority(S_VEL1_EXTI_IRQn, 5, 0);
  HAL_NVIC_EnableIRQ(S_VEL1_EXTI_IRQn);

}

__weak void main_task(void *argument)
{
  /* USER CODE BEGIN 5 */
  UNUSED(argument);
  /* Infinite loop */
  for(;;)
  {
    osDelay(1);
  }
  /* USER CODE END 5 */
}

void HAL_TIM_PeriodElapsedCallback(TIM_HandleTypeDef *htim)
{
  if (htim->Instance == TIM3)
  {
    HAL_IncTick();
  }
}

void Error_Handler(void)
{
}

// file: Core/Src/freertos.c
/* USER CODE BEGIN Header */
/**
  ******************************************************************************
  * File Name          : freertos.c
  * Description        : Code for freertos applications
  ******************************************************************************
  * @attention
  *
  * <h2><center>&copy; Copyright (c) 2020 STMicroelectronics.
  * All rights reserved.</center></h2>
  *
  * This software component is licensed by ST under Ultimate Liberty license
  * SLA0044, the "License"; You may not use this file except in compliance with
  * the License. You may obtain a copy of the License at:
  *                             www.st.com/SLA0044
  *
  ******************************************************************************
  */
/* USER CODE END Header */

#include "FreeRTOS.h"
#include "task.h"
#include "main.h"

/* Hook prototypes */
void vApplicationStackOverflowHook(xTaskHandle xTask, signed char *pcTaskName);
void vApplicationMallocFailedHook(void);

/* USER CODE BEGIN 4 */
void vApplicationStackOverflowHook(xTaskHandle xTask, signed char *pcTaskName)
{
   /* Run time stack overflow checking is performed if
   configCHECK_FOR_STACK_OVERFLOW is defined to 1 or 2. This hook function is
   called if a stack overflow is detected. */
	__disable_irq();
	for(;;) {
		;
	}
}
/* USER CODE END 4 */

/* USER CODE BEGIN 5 */
void vApplicationMallocFailedHook(void)
{
   /* vApplicationMallocFailedHook() will only be called if
   configUSE_MALLOC_FAILED_HOOK is set to 1 in FreeRTOSConfig.h. It is a hook
   function that will get called if a call to pvPortMalloc() fails.
   pvPortMalloc() is called internally by the kernel whenever a task, queue,
   timer or semaphore is created. It is also called by various parts of the
   demo application. If heap_1.c or heap_2.c are used, then the size of the
   heap available to pvPortMalloc() is defined by configTOTAL_HEAP_SIZE in
   FreeRTOSConfig.h, and the xPortGetFreeHeapSize() API function can be used
   to query the size of free heap space that remains (although it does not
   provide information on how the remaining heap might be fragmented). */
	while(1) {
		{} //trap
	}
}
/* USER CODE END 5 */
